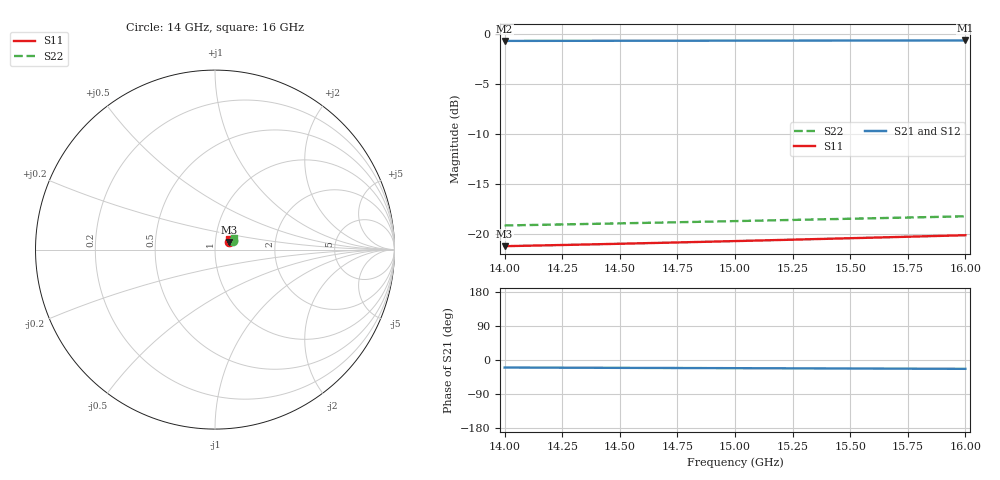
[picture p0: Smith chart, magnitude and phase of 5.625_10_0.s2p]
! Created Tue Dec 15 14:15:30 2020
# hz S ma R 50
! 2 Port Network Data from Sweep1.SP1.SP block
! freq  magS11  angS11  magS21  angS21  magS12  angS12  magS22  angS22
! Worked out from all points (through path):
!   21 points, 14 GHz to 16 GHz, reference 50 ohm
!   highest |S21| = -0.69 dB at 16 GHz (marker M1); lowest = -0.7 dB at 14 GHz (marker M2)
!   group delay of S21, straight-line fit = 4.78 ps
!   lowest |S11| = -21.2 dB at 14 GHz (marker M3), VSWR 1.19, Z = 58.1 + j4.86 ohm
!   |S11| at or under -10 dB: start of sweep to end of sweep
!   |S22| runs from -19.1 to -18.2 dB; largest |S21 - S12| = 0
1.4e10  0.08709 28.5  0.9188 -19.9  0.9188 -19.9  0.1104 25.7
1.41e10  0.08755 29.0  0.919 -20.0  0.919 -20.0  0.111 26.0
1.42e10  0.08802 29.5  0.9193 -20.2  0.9193 -20.2  0.1115 26.3
1.43e10  0.08852 29.9  0.9196 -20.4  0.9196 -20.4  0.112 26.6
1.44e10  0.08902 30.4  0.9198 -20.6  0.9198 -20.6  0.1126 26.9
1.45e10  0.08954 30.8  0.9201 -20.7  0.9201 -20.7  0.1132 27.1
1.46e10  0.09007 31.2  0.9204 -20.9  0.9204 -20.9  0.1137 27.4
1.47e10  0.09062 31.7  0.9206 -21.1  0.9206 -21.1  0.1143 27.7
1.48e10  0.09117 32.1  0.9208 -21.2  0.9208 -21.2  0.1149 27.9
1.49e10  0.09174 32.5  0.9211 -21.4  0.9211 -21.4  0.1155 28.2
1.5e10  0.09233 32.9  0.9213 -21.6  0.9213 -21.6  0.1161 28.4
1.51e10  0.09292 33.3  0.9216 -21.8  0.9216 -21.8  0.1167 28.7
1.52e10  0.09353 33.7  0.9218 -21.9  0.9218 -21.9  0.1174 28.9
1.53e10  0.09415 34.0  0.922 -22.1  0.922 -22.1  0.118 29.1
1.54e10  0.09477 34.4  0.9222 -22.3  0.9222 -22.3  0.1187 29.4
1.55e10  0.09541 34.8  0.9224 -22.4  0.9224 -22.4  0.1193 29.6
1.56e10  0.09606 35.1  0.9226 -22.6  0.9226 -22.6  0.12 29.8
1.57e10  0.09672 35.5  0.9229 -22.8  0.9229 -22.8  0.1206 30.0
1.58e10  0.09739 35.8  0.9231 -23.0  0.9231 -23.0  0.1213 30.2
1.59e10  0.09807 36.1  0.9233 -23.1  0.9233 -23.1  0.122 30.4
1.6e10  0.09876 36.4  0.9234 -23.3  0.9234 -23.3  0.1227 30.6
